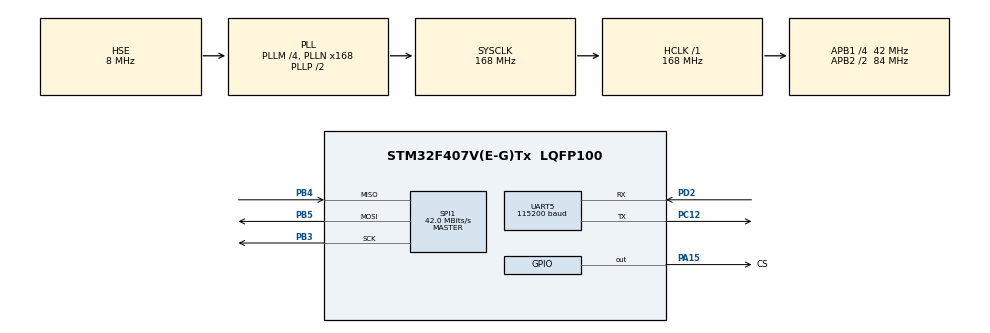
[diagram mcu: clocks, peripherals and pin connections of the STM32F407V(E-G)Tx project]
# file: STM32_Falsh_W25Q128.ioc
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Dma.Request0=UART5_RX
Dma.UART5_RX.0.Direction=DMA_PERIPH_TO_MEMORY
Dma.UART5_RX.0.FIFOMode=DMA_FIFOMODE_DISABLE
Dma.UART5_RX.0.Instance=DMA1_Stream0
Dma.UART5_RX.0.MemDataAlignment=DMA_MDATAALIGN_BYTE
Dma.UART5_RX.0.MemInc=DMA_MINC_ENABLE
Dma.UART5_RX.0.Mode=DMA_CIRCULAR
Dma.UART5_RX.0.PeriphDataAlignment=DMA_PDATAALIGN_BYTE
Dma.UART5_RX.0.PeriphInc=DMA_PINC_DISABLE
Dma.UART5_RX.0.Priority=DMA_PRIORITY_LOW
Mcu.Family=STM32F4
Mcu.Name=STM32F407V(E-G)Tx
Mcu.Package=LQFP100
NVIC.DMA1_Stream0_IRQn=true\:0\:0\:false\:false\:true\:false\:true\:true
NVIC.PriorityGroup=NVIC_PRIORITYGROUP_4
NVIC.UART5_IRQn=true\:0\:0\:false\:false\:true\:true\:true\:true
PA13.Mode=Serial_Wire
PA13.Signal=SYS_JTMS-SWDIO
PA14.Mode=Serial_Wire
PA14.Signal=SYS_JTCK-SWCLK
PA15.GPIO_Label=CS
PA15.Signal=GPIO_Output
PB3.Mode=Full_Duplex_Master
PB3.Signal=SPI1_SCK
PB4.Mode=Full_Duplex_Master
PB4.Signal=SPI1_MISO
PB5.Mode=Full_Duplex_Master
PB5.Signal=SPI1_MOSI
PC12.Mode=Asynchronous
PC12.Signal=UART5_TX
PD2.Mode=Asynchronous
PD2.Signal=UART5_RX
PH0-OSC_IN.Mode=HSE-External-Oscillator
PH0-OSC_IN.Signal=RCC_OSC_IN
PH1-OSC_OUT.Mode=HSE-External-Oscillator
PH1-OSC_OUT.Signal=RCC_OSC_OUT
ProjectManager.HeapSize=0x200
ProjectManager.StackSize=0x400
ProjectManager.TargetToolchain=MDK-ARM V5.32
RCC.48MHZClocksFreq_Value=84000000
RCC.AHBFreq_Value=168000000
RCC.APB1CLKDivider=RCC_HCLK_DIV4
RCC.APB1Freq_Value=42000000
RCC.APB1TimFreq_Value=84000000
RCC.APB2CLKDivider=RCC_HCLK_DIV2
RCC.APB2Freq_Value=84000000
RCC.APB2TimFreq_Value=168000000
RCC.CortexFreq_Value=168000000
RCC.HCLKFreq_Value=168000000
RCC.HSE_VALUE=8000000
RCC.HSI_VALUE=16000000
RCC.LSE_VALUE=32768
RCC.PLLM=4
RCC.PLLN=168
RCC.PLLSourceVirtual=RCC_PLLSOURCE_HSE
RCC.SYSCLKFreq_VALUE=168000000
RCC.SYSCLKSource=RCC_SYSCLKSOURCE_PLLCLK
RCC.VCOOutputFreq_Value=336000000
SPI1.CalculateBaudRate=42.0 MBits/s
SPI1.Direction=SPI_DIRECTION_2LINES
SPI1.Mode=SPI_MODE_MASTER
SPI1.VirtualType=VM_MASTER
UART5.BaudRate=115200
UART5.VirtualMode=Asynchronous
board=custom

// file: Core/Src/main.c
/* USER CODE BEGIN Header */
/**
  ******************************************************************************
  * @file           : main.c
  * @brief          : Main program body
  ******************************************************************************
  * @attention
  *
  * Copyright (c) 2023 STMicroelectronics.
  * All rights reserved.
  *
  * This software is licensed under terms that can be found in the LICENSE file
  * in the root directory of this software component.
  * If no LICENSE file comes with this software, it is provided AS-IS.
  *
  ******************************************************************************
  */
/* USER CODE END Header */
#include "main.h"
#include "dma.h"
#include "spi.h"
#include "usart.h"
#include "gpio.h"

/* USER CODE BEGIN Includes */
#include "stdio.h"
#include <string.h>
#include "W25Qx.h"

/* USER CODE END Includes */

/* USER CODE BEGIN PV */
#define BUFFERSIZE 255           //可以接收的最大字符个数
uint8_t ReceiveBuff[BUFFERSIZE]; //接收缓冲区
uint8_t recv_end_flag = 0,Rx_len;//接收完成中断标志，接收到字符长度

// ***************** wData三个数组用于存储三块内容的数据 ********************* */
uint8_t wData1[0x200];
uint8_t wData2[0x200];
uint8_t wData3[0x200];
// ***************** RData三个数组用于读取内容的数据 ********************* */
uint8_t rData1[0x200];
uint8_t rData2[0x200];
uint8_t rData3[0x200];

uint8_t ID[4];
uint32_t i;
uint32_t i_data = 0xFF;

/* USER CODE END PV */

void SystemClock_Config(void);
/* USER CODE BEGIN PFP */
/* USER CODE BEGIN PFP */

#ifdef __GNUC__									//串口重定向
#define PUTCHAR_PROTOTYPE int __io_putchar(int ch)
#else
#define PUTCHAR_PROTOTYPE int fputc(int ch, FILE *f)
#endif
PUTCHAR_PROTOTYPE
{
    HAL_UART_Transmit(&huart5 , (uint8_t *)&ch, 1, 0xFFFF);
    return ch;
}

/* USER CODE END PFP */

int main(void)
{

  /* MCU Configuration--------------------------------------------------------*/

  /* Reset of all peripherals, Initializes the Flash interface and the Systick. */
  HAL_Init();

  /* Configure the system clock */
  SystemClock_Config();

  /* Initialize all configured peripherals */
  MX_GPIO_Init();
  MX_DMA_Init();
  MX_SPI1_Init();
  MX_UART5_Init();
  /* USER CODE BEGIN 2 */
// ****************** 使能串口5中断 **********************//
	__HAL_UART_ENABLE_IT(&huart5, UART_IT_IDLE);   //使能串口5 IDLE中断

	/*##-1- Read the device ID  ########################*/
	BSP_W25Qx_Init();//初始化W25Q128
	BSP_W25Qx_Read_ID(ID);//读取ID
	printf("___________________________");

	if((ID[0] != 0xEF) | (ID[1] != 0x14))
	{
		Error_Handler();//如果 ID不对打印错误
	}
	else//ID正确，打印ID
	{
		printf("W25Q128 ID : ");
		for(i=0;i<2;i++)
		{
			printf("0x%02X ",ID[i]);
		}
		printf("\r\n\r\n");
	}

	// 采用三个扇区进行读写：0~0x200:当前, 0x300~0x500:净入累计, 0x600 ~ 0x800:脏出累计

	if(BSP_W25Qx_Read(rData1,0x00,0x200)== W25Qx_OK)
		printf("SPI read ok\n");
	else
		Error_Handler();
	/*打印数据*/
	printf("SPI Data is\r\n");
	for(i = 0;i<0x200;i++)
	{
		printf("0x%02X  ",rData1[i]);
	}
	printf("\n");

/**************************清除第1扇区数据为0**************************************************************/
	/*##-2- Erase Block ##################################*/
	if(BSP_W25Qx_Erase_Block(0) == W25Qx_OK)
		printf("QSPI Erase Block ok\r\n");
	else
		Error_Handler();

//*************************** 写入数据 *************************************

	for(i =0;i<0x200;i ++)
	{
			wData1[i] = 0x13;
		  rData1[i] = 0;
	}
	if(BSP_W25Qx_Write(wData1,0x00,0x200)== W25Qx_OK)
		printf("SPI Erase write ok \r\n");
	else
		Error_Handler();

// *********************** 读取数据 ********************************
	if(BSP_W25Qx_Read(rData1,0x00,0x200)== W25Qx_OK)
		printf("SPI Read ok \r\n");
	else
		Error_Handler();
	/*打印数据*/
	printf("SPI Data is: \r\n");
	for(i =0;i<0x200;i++)
	{
		printf("0x%02X  ",rData1[i]);
	}
	printf("*****************************************\r\n");
  /* USER CODE END 2 */

  /* Infinite loop */
  while (1)
  {

  }
}

void SystemClock_Config(void)
{
  RCC_OscInitTypeDef RCC_OscInitStruct = {0};
  RCC_ClkInitTypeDef RCC_ClkInitStruct = {0};

  /** Configure the main internal regulator output voltage
  */
  __HAL_RCC_PWR_CLK_ENABLE();
  __HAL_PWR_VOLTAGESCALING_CONFIG(PWR_REGULATOR_VOLTAGE_SCALE1);

  /** Initializes the RCC Oscillators according to the specified parameters
  * in the RCC_OscInitTypeDef structure.
  */
  RCC_OscInitStruct.OscillatorType = RCC_OSCILLATORTYPE_HSE;
  RCC_OscInitStruct.HSEState = RCC_HSE_ON;
  RCC_OscInitStruct.PLL.PLLState = RCC_PLL_ON;
  RCC_OscInitStruct.PLL.PLLSource = RCC_PLLSOURCE_HSE;
  RCC_OscInitStruct.PLL.PLLM = 4;
  RCC_OscInitStruct.PLL.PLLN = 168;
  RCC_OscInitStruct.PLL.PLLP = RCC_PLLP_DIV2;
  RCC_OscInitStruct.PLL.PLLQ = 4;
  if (HAL_RCC_OscConfig(&RCC_OscInitStruct) != HAL_OK)
  {
    Error_Handler();
  }

  /** Initializes the CPU, AHB and APB buses clocks
  */
  RCC_ClkInitStruct.ClockType = RCC_CLOCKTYPE_HCLK|RCC_CLOCKTYPE_SYSCLK
                              |RCC_CLOCKTYPE_PCLK1|RCC_CLOCKTYPE_PCLK2;
  RCC_ClkInitStruct.SYSCLKSource = RCC_SYSCLKSOURCE_PLLCLK;
  RCC_ClkInitStruct.AHBCLKDivider = RCC_SYSCLK_DIV1;
  RCC_ClkInitStruct.APB1CLKDivider = RCC_HCLK_DIV4;
  RCC_ClkInitStruct.APB2CLKDivider = RCC_HCLK_DIV2;

  if (HAL_RCC_ClockConfig(&RCC_ClkInitStruct, FLASH_LATENCY_5) != HAL_OK)
  {
    Error_Handler();
  }
}

void Error_Handler(void)
{
  __disable_irq();
  while (1)
  {
  }
}
